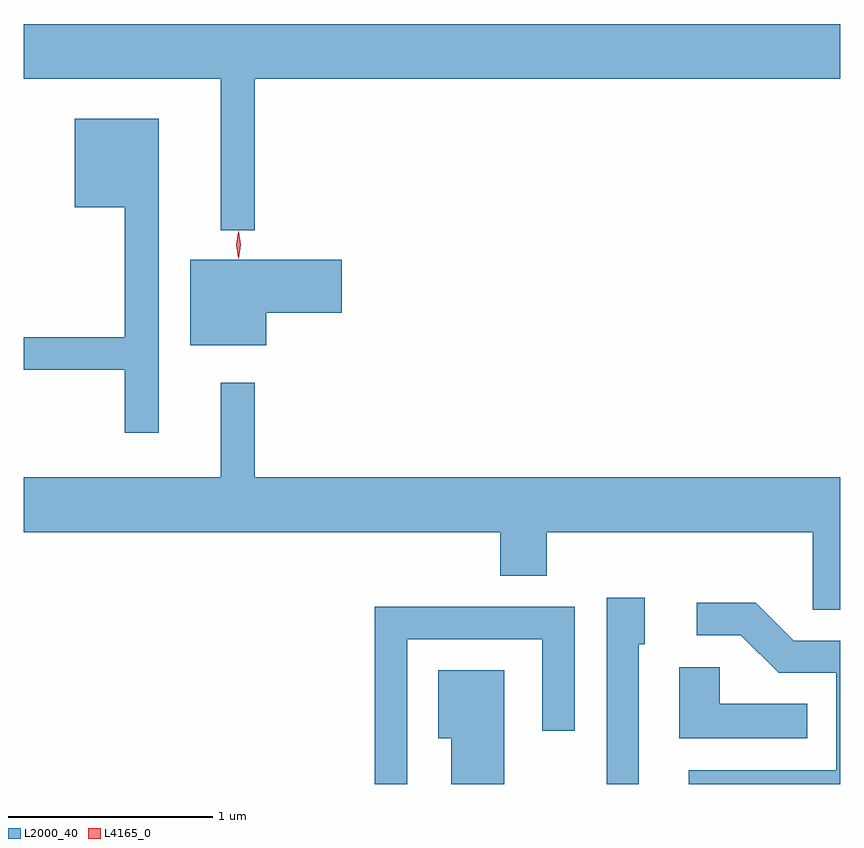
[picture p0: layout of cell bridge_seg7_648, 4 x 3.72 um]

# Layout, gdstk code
import gdstk
lib = gdstk.Library(unit=1e-6, precision=1e-09)
def P(c, l, *ps):  # polygons
    for p in ps: c.add(gdstk.Polygon(p, *l))
L2000_40 = (2000, 40)
L4165_0 = (4165, 0)

bridge_seg7_648 = lib.new_cell('bridge_seg7_648')
P(bridge_seg7_648, L2000_40, [(877.739,1736.516),(880.606,1736.516),(880.606,1736.784),(876.606,1736.784),(876.606,1736.516),(877.571,1736.516),(877.571,1735.773),(877.739,1735.773)],
  [(877.269,1736.319),(876.856,1736.319),(876.856,1735.886),(877.101,1735.886),(877.101,1735.249),(876.606,1735.249),(876.606,1735.091),(877.101,1735.091),(877.101,1734.783),(877.269,1734.783)],
  [(877.794,1735.371),(878.164,1735.371),(878.164,1735.629),(877.421,1735.629),(877.421,1735.211),(877.794,1735.211)],
  [(880.606,1734.564),(877.739,1734.564),(877.739,1735.028),(877.571,1735.028),(877.571,1734.564),(876.606,1734.564),(876.606,1734.296),(878.941,1734.296),(878.941,1734.081),(879.169,1734.081),(879.169,1734.296),(880.471,1734.296),(880.471,1733.916),(880.606,1733.916)],
  [(879.619,1733.746),(879.649,1733.746),(879.649,1733.974),(879.461,1733.974),(879.461,1733.062),(879.619,1733.062)],
  [(880.606,1733.764),(880.377,1733.764),(880.192,1733.949),(879.903,1733.949),(879.903,1733.791),(880.119,1733.791),(880.304,1733.606),(880.586,1733.606),(880.586,1733.129),(879.863,1733.129),(879.863,1733.062),(880.606,1733.062)],
  [(878.484,1733.771),(879.146,1733.771),(879.146,1733.323),(879.304,1733.323),(879.304,1733.929),(878.326,1733.929),(878.326,1733.062),(878.484,1733.062)],
  [(880.443,1733.454),(880.014,1733.454),(880.014,1733.634),(879.816,1733.634),(879.816,1733.286),(880.443,1733.286)],
  [(878.959,1733.619),(878.636,1733.619),(878.636,1733.286),(878.701,1733.286),(878.701,1733.062),(878.959,1733.062)])
P(bridge_seg7_648, L4165_0, [(877.659,1735.634),(877.65,1735.702),(877.659,1735.77),(877.659,1735.77),(877.66,1735.77),(877.669,1735.702),(877.66,1735.634),(877.66,1735.634)],
  [(877.657,1735.64),(877.657,1735.64),(877.647,1735.703),(877.657,1735.766),(877.657,1735.767),(877.658,1735.766),(877.667,1735.703),(877.658,1735.64)])

lib.write_gds('bridge_seg7_648.gds')
